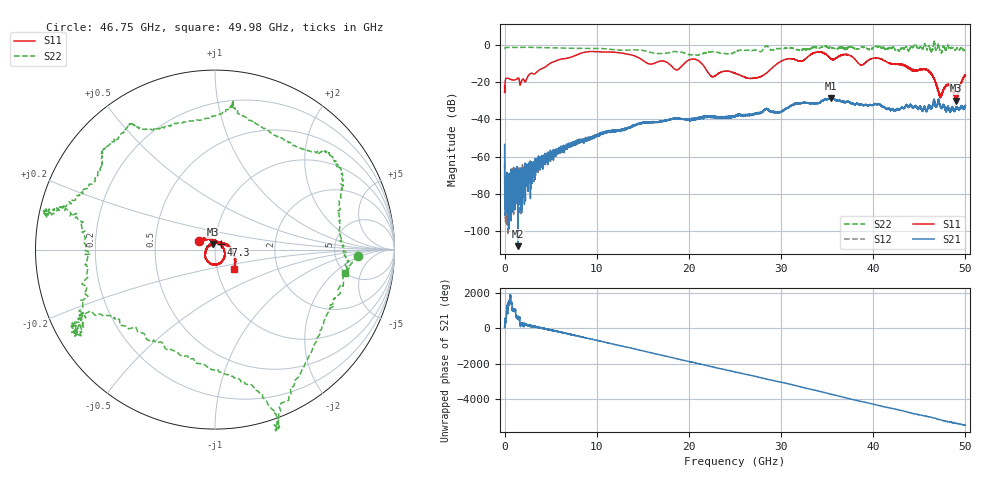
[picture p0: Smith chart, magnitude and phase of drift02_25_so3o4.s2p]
!Created with skrf (http://scikit-rf.org).
# Hz S RI R 50.0
!freq ReS11 ImS11 ReS21 ImS21 ReS12 ImS12 ReS22 ImS22
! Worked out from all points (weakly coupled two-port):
!   10001 points, 300 kHz to 50 GHz, reference 50 ohm
!   highest |S21| = -28.51 dB at 35.38 GHz (marker M1); lowest = -108.1 dB at 1.425 GHz (marker M2)
!   lowest |S11| = -30.0 dB at 49.02 GHz (marker M3), VSWR 1.07, Z = 48.9 + j2.93 ohm
!   |S11| at or under -10 dB: start of sweep to 4.957 GHz; 21.38 GHz to 29.63 GHz (8.253 GHz wide, 32.4 % of centre); 41.84 GHz to end of sweep (the widest 3 of 9)
!   |S22| runs from -5.7 to 2.3 dB; largest |S21 - S12| = 0.0034
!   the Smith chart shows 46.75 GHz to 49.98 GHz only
!   S11 on the Smith chart (normalised r, x): 46.75 GHz: 0.84, +0.08; 47.3 GHz: 1.06, +0.06; 49.98 GHz: 1.20, -0.27
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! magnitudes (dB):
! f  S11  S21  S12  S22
! 300 kHz  -22.2  -53.5  -63.9  -2.1
! 255.3 MHz  -17.9  -68.4  -75.4  -1.4
! 1.425 GHz  -18.0  -108.1  -81.8  -1.4
! 3.6 GHz  -14.2  -62.7  -64.2  -1.5
! 8.335 GHz  -4.5  -52.0  -51.9  -1.9
! 16.67 GHz  -9.1  -41.6  -41.4  -4.7
! 18.7 GHz  -13.5  -39.5  -39.5  -3.7
! 20.6 GHz  -7.7  -39.7  -40.2  -5.7
! 22.51 GHz  -17.1  -38.7  -38.6  -3.7
! 25 GHz  -15.2  -38.4  -38.1  -3.9
! 27.5 GHz  -17.6  -36.7  -36.6  -3.2
! 30.22 GHz  -8.3  -35.2  -35.1  -2.1
! 33.34 GHz  -4.9  -31.3  -31.3  -1.6
! 35.38 GHz  -7.5  -28.5  -28.6  -1.5
! 41.67 GHz  -9.6  -34.1  -34.2  -1.8
! 45.79 GHz  -13.7  -35.7  -35.7  -2.3
! 46.75 GHz  -20.0  -32.7  -32.3  -2.0
! 47.3 GHz  -27.3  -33.3  -33.5  -3.5
! 48.14 GHz  -21.5  -33.2  -33.2  -0.8
! 49.02 GHz  -30.0  -33.4  -33.9  -2.1
! 49.98 GHz  -16.4  -33.0  -32.9  -2.6
! 50 GHz  -16.4  -32.7  -33.2  -2.7
